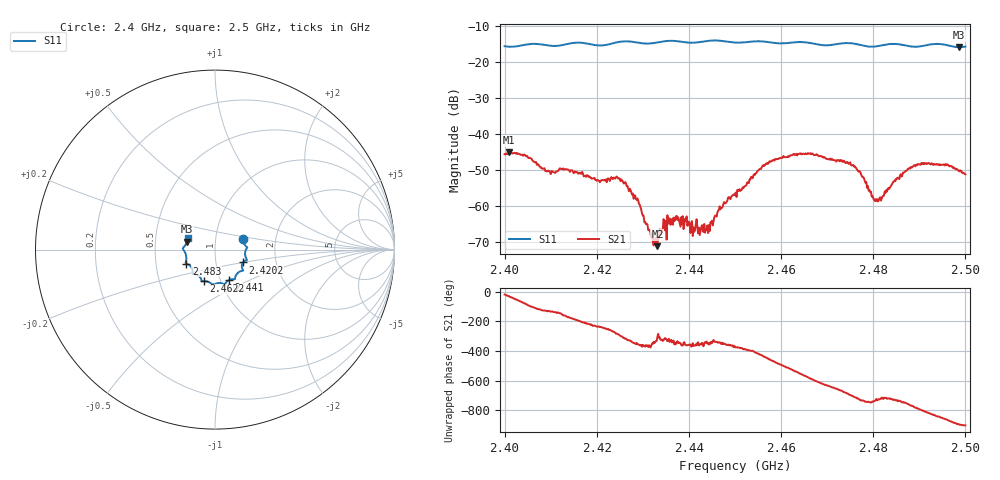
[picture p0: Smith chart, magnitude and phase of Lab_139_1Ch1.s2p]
# Hz S RI R 50
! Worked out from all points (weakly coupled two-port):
!   601 points, 2.4 GHz to 2.5 GHz, reference 50 ohm
!   highest |S21| = -45.03 dB at 2.401 GHz (marker M1); lowest = -71.1 dB at 2.4332 GHz (marker M2)
!   lowest |S11| = -15.8 dB at 2.4987 GHz (marker M3), VSWR 1.39, Z = 36.4 + j3.32 ohm
!   |S11| at or under -10 dB: start of sweep to end of sweep
!   S12 and S22 are empty: the file has one direction only
!   S11 on the Smith chart (normalised r, x): 2.4 GHz: 1.36, +0.17; 2.4202 GHz: 1.35, -0.20; 2.441 GHz: 1.09, -0.39; 2.4622 GHz: 0.83, -0.30; 2.483 GHz: 0.72, -0.12; 2.5 GHz: 0.73, +0.09
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2.4e9  0.156 0.06  0.00502 -0.00168  0 0  0 0
2.401e9  0.1574 0.0478  0.00483 -0.00285  0 0  0 0
2.416667e9  0.1776 -0.0581  -0.00262 0.00108  0 0  0 0
2.420167e9  0.1559 -0.0718  -0.00129 0.00194  0 0  0 0
2.425833e9  0.1572 -0.1155  0.0014 0.00154  0 0  0 0
2.432e9  0.1179 -0.1408  0.000407 7.35e-05  0 0  0 0
2.433167e9  0.1132 -0.1512  0.000159 0.00023  0 0  0 0
2.433333e9  0.1127 -0.1524  9.52e-05 0.000378  0 0  0 0
2.437167e9  0.1077 -0.1652  0.000719 7.19e-05  0 0  0 0
2.441e9  0.0767 -0.1707  0.00051 -5.19e-05  0 0  0 0
2.444e9  0.0569 -0.1893  0.000535 0.000103  0 0  0 0
2.45e9  0.0263 -0.186  0.00143 -0.000359  0 0  0 0
2.4565e9  -0.0161 -0.1927  0.000575 -0.00371  0 0  0 0
2.462167e9  -0.0633 -0.1762  -0.00487 -0.00154  0 0  0 0
2.466667e9  -0.0762 -0.1668  -0.00343 0.00402  0 0  0 0
2.4755e9  -0.1257 -0.1328  0.00356 0.00108  0 0  0 0
2.4805e9  -0.1402 -0.0888  0.00122 -0.000281  0 0  0 0
2.483e9  -0.1592 -0.0781  0.0016 -4.97e-05  0 0  0 0
2.483333e9  -0.1608 -0.0774  0.0018 6.04e-07  0 0  0 0
2.490167e9  -0.1649 -0.0196  0.000988 -0.00369  0 0  0 0
2.498667e9  -0.1556 0.0444  -0.00304 -0.000182  0 0  0 0
2.5e9  -0.1529 0.0631  -0.00278 0.000115  0 0  0 0
